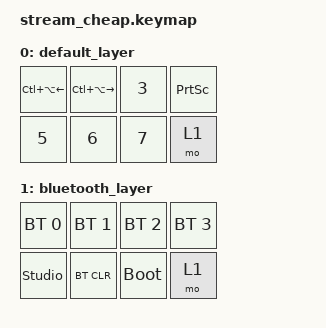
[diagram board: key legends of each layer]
// This file was generated from a template. Edit it to match your keyboard.
// See https://zmk.dev/docs/development/hardware-integration/new-shield for more instructions.

#include <behaviors.dtsi>
#include <dt-bindings/zmk/keys.h>
#include <dt-bindings/zmk/bt.h>

/ {
    keymap {
        physical-layout = <&macropad_2x4>;
        compatible = "zmk,keymap";

        default_layer {
            bindings = <
                &kp LC(LA(LEFT))   &kp LC(LA(RIGHT))   &kp N3     &kp PSCRN
                &kp N5             &kp N6              &kp N7     &mo 1
            >;
        };


        bluetooth_layer {
            bindings = <
                &bt BT_SEL 0     &bt BT_SEL 1   &bt BT_SEL 2   &bt BT_SEL 3
                &studio_unlock   &bt BT_CLR     &bootloader   &mo 1
            >;
        };
    };
};



